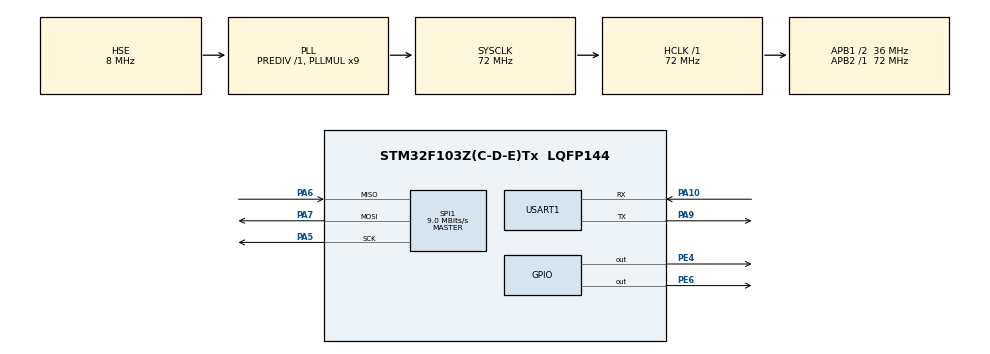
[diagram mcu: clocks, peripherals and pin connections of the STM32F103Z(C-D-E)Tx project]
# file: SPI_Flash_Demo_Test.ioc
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Mcu.Family=STM32F1
Mcu.Name=STM32F103Z(C-D-E)Tx
Mcu.Package=LQFP144
NVIC.PriorityGroup=NVIC_PRIORITYGROUP_4
OSC_IN.Mode=HSE-External-Oscillator
OSC_IN.Signal=RCC_OSC_IN
OSC_OUT.Mode=HSE-External-Oscillator
OSC_OUT.Signal=RCC_OSC_OUT
PA10.Mode=Asynchronous
PA10.Signal=USART1_RX
PA13.Mode=Serial_Wire
PA13.Signal=SYS_JTMS-SWDIO
PA14.Mode=Serial_Wire
PA14.Signal=SYS_JTCK-SWCLK
PA5.Mode=Full_Duplex_Master
PA5.Signal=SPI1_SCK
PA6.Mode=Full_Duplex_Master
PA6.Signal=SPI1_MISO
PA7.Mode=Full_Duplex_Master
PA7.Signal=SPI1_MOSI
PA9.Mode=Asynchronous
PA9.Signal=USART1_TX
PE4.PinState=GPIO_PIN_SET
PE4.Signal=GPIO_Output
PE6.PinState=GPIO_PIN_SET
PE6.Signal=GPIO_Output
ProjectManager.HeapSize=0x200
ProjectManager.StackSize=0x400
ProjectManager.TargetToolchain=MDK-ARM V5.32
RCC.AHBFreq_Value=72000000
RCC.APB1CLKDivider=RCC_HCLK_DIV2
RCC.APB1Freq_Value=36000000
RCC.APB1TimFreq_Value=72000000
RCC.APB2Freq_Value=72000000
RCC.APB2TimFreq_Value=72000000
RCC.HCLKFreq_Value=72000000
RCC.PLLMUL=RCC_PLL_MUL9
RCC.PLLSourceVirtual=RCC_PLLSOURCE_HSE
RCC.SYSCLKFreq_VALUE=72000000
RCC.SYSCLKSource=RCC_SYSCLKSOURCE_PLLCLK
RCC.USBFreq_Value=72000000
SPI1.BaudRatePrescaler=SPI_BAUDRATEPRESCALER_8
SPI1.CalculateBaudRate=9.0 MBits/s
SPI1.Direction=SPI_DIRECTION_2LINES
SPI1.Mode=SPI_MODE_MASTER
SPI1.VirtualType=VM_MASTER
USART1.Parity=PARITY_ODD
USART1.VirtualMode=VM_ASYNC
USART1.WordLength=WORDLENGTH_9B
board=custom

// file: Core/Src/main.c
/* USER CODE BEGIN Header */
/**
 ******************************************************************************
 * @file           : main.c
 * @brief          : Main program body
 ******************************************************************************
 * @attention
 *
 * Copyright (c) 2026 STMicroelectronics.
 * All rights reserved.
 *
 * This software is licensed under terms that can be found in the LICENSE file
 * in the root directory of this software component.
 * If no LICENSE file comes with this software, it is provided AS-IS.
 *
 ******************************************************************************
 */
/* USER CODE END Header */
#include "main.h"

/* USER CODE BEGIN Includes */
#include "BSP_Usart_Redir.h"
/* USER CODE END Includes */

SPI_HandleTypeDef hspi1;

UART_HandleTypeDef huart1;

void SystemClock_Config(void);
static void MX_GPIO_Init(void);
static void MX_SPI1_Init(void);
static void MX_USART1_UART_Init(void);
/* USER CODE BEGIN PFP */
void W25Qxx_CS_Enable();  // 拉低进行片选
void W25Qxx_CS_Disable(); // 取消片选
uint32_t W25Qxx_ReadID(); // 获取芯片信息
/* USER CODE END PFP */

int main(void)
{

  /* MCU Configuration--------------------------------------------------------*/

  /* Reset of all peripherals, Initializes the Flash interface and the Systick. */
  HAL_Init();

  /* USER CODE BEGIN Init */
  BSP_Usart_Init(&huart1);
  /* USER CODE END Init */

  /* Configure the system clock */
  SystemClock_Config();

  /* Initialize all configured peripherals */
  MX_GPIO_Init();
  MX_SPI1_Init();
  MX_USART1_UART_Init();
  /* USER CODE BEGIN 2 */
  uint32_t id = W25Qxx_ReadID();
  printf("ID:0x%x\n", id);
  /* USER CODE END 2 */

  /* Infinite loop */
  while (1)
  {

  }
}

void SystemClock_Config(void)
{
  RCC_OscInitTypeDef RCC_OscInitStruct = {0};
  RCC_ClkInitTypeDef RCC_ClkInitStruct = {0};

  /** Initializes the RCC Oscillators according to the specified parameters
   * in the RCC_OscInitTypeDef structure.
   */
  RCC_OscInitStruct.OscillatorType = RCC_OSCILLATORTYPE_HSE;
  RCC_OscInitStruct.HSEState = RCC_HSE_ON;
  RCC_OscInitStruct.HSEPredivValue = RCC_HSE_PREDIV_DIV1;
  RCC_OscInitStruct.HSIState = RCC_HSI_ON;
  RCC_OscInitStruct.PLL.PLLState = RCC_PLL_ON;
  RCC_OscInitStruct.PLL.PLLSource = RCC_PLLSOURCE_HSE;
  RCC_OscInitStruct.PLL.PLLMUL = RCC_PLL_MUL9;
  if (HAL_RCC_OscConfig(&RCC_OscInitStruct) != HAL_OK)
  {
    Error_Handler();
  }

  /** Initializes the CPU, AHB and APB buses clocks
   */
  RCC_ClkInitStruct.ClockType = RCC_CLOCKTYPE_HCLK | RCC_CLOCKTYPE_SYSCLK | RCC_CLOCKTYPE_PCLK1 | RCC_CLOCKTYPE_PCLK2;
  RCC_ClkInitStruct.SYSCLKSource = RCC_SYSCLKSOURCE_PLLCLK;
  RCC_ClkInitStruct.AHBCLKDivider = RCC_SYSCLK_DIV1;
  RCC_ClkInitStruct.APB1CLKDivider = RCC_HCLK_DIV2;
  RCC_ClkInitStruct.APB2CLKDivider = RCC_HCLK_DIV1;

  if (HAL_RCC_ClockConfig(&RCC_ClkInitStruct, FLASH_LATENCY_2) != HAL_OK)
  {
    Error_Handler();
  }
}

static void MX_SPI1_Init(void)
{

  /* SPI1 parameter configuration*/
  hspi1.Instance = SPI1;
  hspi1.Init.Mode = SPI_MODE_MASTER;
  hspi1.Init.Direction = SPI_DIRECTION_2LINES;
  hspi1.Init.DataSize = SPI_DATASIZE_8BIT;
  hspi1.Init.CLKPolarity = SPI_POLARITY_LOW;
  hspi1.Init.CLKPhase = SPI_PHASE_1EDGE;
  hspi1.Init.NSS = SPI_NSS_SOFT;
  hspi1.Init.BaudRatePrescaler = SPI_BAUDRATEPRESCALER_8;
  hspi1.Init.FirstBit = SPI_FIRSTBIT_MSB;
  hspi1.Init.TIMode = SPI_TIMODE_DISABLE;
  hspi1.Init.CRCCalculation = SPI_CRCCALCULATION_DISABLE;
  hspi1.Init.CRCPolynomial = 10;
  if (HAL_SPI_Init(&hspi1) != HAL_OK)
  {
    Error_Handler();
  }
}

static void MX_USART1_UART_Init(void)
{

  huart1.Instance = USART1;
  huart1.Init.BaudRate = 115200;
  huart1.Init.WordLength = UART_WORDLENGTH_9B;
  huart1.Init.StopBits = UART_STOPBITS_1;
  huart1.Init.Parity = UART_PARITY_ODD;
  huart1.Init.Mode = UART_MODE_TX_RX;
  huart1.Init.HwFlowCtl = UART_HWCONTROL_NONE;
  huart1.Init.OverSampling = UART_OVERSAMPLING_16;
  if (HAL_UART_Init(&huart1) != HAL_OK)
  {
    Error_Handler();
  }
}

static void MX_GPIO_Init(void)
{
  GPIO_InitTypeDef GPIO_InitStruct = {0};

  /* GPIO Ports Clock Enable */
  __HAL_RCC_GPIOE_CLK_ENABLE();
  __HAL_RCC_GPIOA_CLK_ENABLE();

  /*Configure GPIO pin Output Level */
  HAL_GPIO_WritePin(GPIOE, GPIO_PIN_4 | GPIO_PIN_6, GPIO_PIN_SET);

  /*Configure GPIO pins : PE4 PE6 */
  GPIO_InitStruct.Pin = GPIO_PIN_4 | GPIO_PIN_6;
  GPIO_InitStruct.Mode = GPIO_MODE_OUTPUT_PP;
  GPIO_InitStruct.Pull = GPIO_NOPULL;
  GPIO_InitStruct.Speed = GPIO_SPEED_FREQ_LOW;
  HAL_GPIO_Init(GPIOE, &GPIO_InitStruct);

}

/* USER CODE BEGIN 4 */
void W25Qxx_CS_Enable()
{
  HAL_GPIO_WritePin(GPIOE, GPIO_PIN_6, GPIO_PIN_RESET);
}
void W25Qxx_CS_Disable()
{
  HAL_GPIO_WritePin(GPIOE, GPIO_PIN_6, GPIO_PIN_SET);
}
uint32_t W25Qxx_ReadID_version1()
{
  uint8_t cmd = 0x9F;
  uint8_t tx_buffer[4] = {cmd, 0x00, 0x00, 0x00};
  uint8_t rx_buffer[4] = {0x00, 0x00, 0x00, 0x00};
  HAL_StatusTypeDef state;
  uint32_t id = 0;
  W25Qxx_CS_Enable();
  state =
      HAL_SPI_TransmitReceive(&hspi1, tx_buffer, rx_buffer, sizeof(tx_buffer) / sizeof(tx_buffer[0]), HAL_MAX_DELAY);
  if (state != HAL_OK)
  {
    printf("HAL_SPI_TransmitReceive error\n");
    goto EXIT;
  }
  id = ((rx_buffer[1] << 16) | (rx_buffer[2] << 8) | (rx_buffer[3] << 0));
EXIT:
  W25Qxx_CS_Disable();
  return id;
}
uint32_t W25Qxx_ReadID()
{
  uint8_t cmd = 0x9F;
  uint8_t rx_buffer[3] = {0x00, 0x00, 0x00};
  HAL_StatusTypeDef state;
  uint32_t id = 0;
  W25Qxx_CS_Enable();
  state = HAL_SPI_Transmit(&hspi1, &cmd, 1, HAL_MAX_DELAY);
  if (state != HAL_OK)
  {
    printf("HAL_SPI_Transmit error\n");
    goto EXIT;
  }
  state = HAL_ERROR;
  state = HAL_SPI_Receive(&hspi1, rx_buffer, 3, HAL_MAX_DELAY);
  if (state != HAL_OK)
  {
    printf("HAL_SPI_Receive error\n");
    goto EXIT;
  }
  id = ((rx_buffer[0] << 16) | (rx_buffer[1] << 8) | (rx_buffer[2] << 0));
EXIT:
  W25Qxx_CS_Disable();
  return id;
}
/* USER CODE END 4 */

void Error_Handler(void)
{
  __disable_irq();
  while (1)
  {
  }
}
